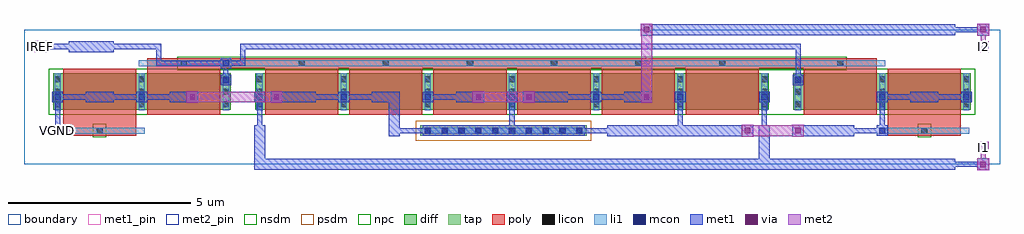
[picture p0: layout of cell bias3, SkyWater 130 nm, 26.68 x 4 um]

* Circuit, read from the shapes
.subckt bias3 I1 I2 IREF VGND
XM1 VGND VGND VGND VGND sky130_fd_pr__nfet_01v8 w=1 l=2 m=2
XM2 IREF IREF VGND VGND sky130_fd_pr__nfet_01v8 w=1 l=2 m=2
XM3 VGND IREF I1 VGND sky130_fd_pr__nfet_01v8 w=1 l=2 m=2
XM4 I2 IREF VGND VGND sky130_fd_pr__nfet_01v8 w=1 l=2 m=4
.ends

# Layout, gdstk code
import gdstk
lib = gdstk.Library(unit=1e-6, precision=1e-09)
def R(c, l, rs):  # rectangles x0, y0, x1, y1
    for r in rs: c.add(gdstk.rectangle(r[:2], r[2:], *l))
def A(c, l, x, y, w, h, nx, ny, dx, dy):  # array of equal rectangles
    R(c, l, [(x+i*dx, y+j*dy, x+i*dx+w, y+j*dy+h) for i in range(nx) for j in range(ny)])
diff = (65, 20)
tap = (65, 44)
poly = (66, 20)
licon = (66, 44)
li1 = (67, 20)
mcon = (67, 44)
met1_pin = (68, 16)
met1 = (68, 20)
via = (68, 44)
met2_pin = (69, 16)
met2 = (69, 20)
nsdm = (93, 44)
psdm = (94, 20)
npc = (95, 20)
boundary = (235, 4)

bias3 = lib.new_cell('bias3')
R(bias3, diff, [(0.795,1.485,5.645,2.485), (6.315,1.485,20.365,2.485), (21.035,1.485,25.885,2.485)])
R(bias3, tap, [(10.835,0.775,15.385,1.065)])
A(bias3, poly, 6.59, 1.355, 2, 1.405, 6, 1, 2.3, 0)
R(bias3, poly, [(1.07,0.785,3.07,1.055), (23.61,0.785,25.61,1.055), (1.07,0.92,3.07,2.615), (23.61,0.92,25.61,2.615), (3.37,1.355,5.37,2.76), (21.31,1.355,23.31,2.76), (3.37,2.625,23.31,2.895)])
A(bias3, licon, 10.955, 0.835, 0.17, 0.17, 10, 1, 0.46, 0)
A(bias3, licon, 0.835, 1.56, 0.17, 0.17, 3, 3, 2.3, 0.34)
A(bias3, licon, 6.355, 1.56, 0.17, 0.17, 7, 3, 2.3, 0.34)
A(bias3, licon, 21.075, 1.56, 0.17, 0.17, 3, 3, 2.3, 0.34)
A(bias3, licon, 7.505, 2.675, 0.17, 0.17, 6, 1, 2.3, 0)
R(bias3, licon, [(1.985,0.835,2.155,1.005), (24.525,0.835,24.695,1.005), (4.285,2.675,4.455,2.845), (22.225,2.675,22.395,2.845)])
A(bias3, li1, 0.835, 1.48, 0.17, 1.01, 3, 1, 2.3, 0)
A(bias3, li1, 6.355, 1.48, 0.17, 1.01, 7, 1, 2.3, 0)
A(bias3, li1, 21.075, 1.48, 0.17, 1.01, 3, 1, 2.3, 0)
R(bias3, li1, [(0.835,0.835,3.305,1.005), (10.875,0.835,15.345,1.005), (23.375,0.835,25.845,1.005), (3.135,2.675,23.545,2.845)])
A(bias3, mcon, 10.955, 0.835, 0.17, 0.17, 10, 1, 0.46, 0)
A(bias3, mcon, 6.355, 1.755, 0.17, 0.17, 7, 1, 2.3, 0)
R(bias3, mcon, [(0.835,0.835,1.005,1.005), (23.375,0.835,23.545,1.005), (0.835,1.755,1.005,1.925), (3.135,1.755,3.305,1.925), (23.375,1.755,23.545,1.925), (25.675,1.755,25.845,1.925), (5.435,2.215,5.605,2.385), (21.075,2.215,21.245,2.385), (5.435,2.675,5.605,2.845)])
R(bias3, met1_pin, [(0.775,0.775,1.065,1.065)])
A(bias3, met1, 6.295, 1.695, 0.29, 0.29, 7, 1, 2.3, 0)
R(bias3, met1, [(26.06,-0.16,26.38,0.16), (6.29,-0.15,6.59,1.07), (6.29,-0.15,20.39,0.15), (20.09,-0.15,20.39,1.07), (20.09,-0.15,25.45,0.15), (25.23,-0.07,26.29,0.07), (19.62,0.76,19.94,1.08), (21,0.76,21.32,1.08), (9.97,0.77,10.27,1.99), (15.95,0.77,18.09,1.07), (17.79,0.77,19.93,1.07), (21.01,0.77,22.69,1.07), (0.775,0.775,1.065,1.065), (10.895,0.775,15.325,1.065), (23.315,0.775,23.605,1.065), (0.85,0.85,0.99,1.91), (6.37,0.85,6.51,1.91), (10.05,0.85,11.11,0.99), (10.97,0.85,11.11,0.99), (10.97,0.85,13.41,0.99), (13.27,0.85,13.41,1.91), (13.27,0.85,16.17,0.99), (17.87,0.85,18.01,1.91), (20.17,0.85,20.31,1.91), (22.47,0.85,23.53,0.99), (23.39,0.85,23.53,1.91), (4.44,1.68,4.76,2), (6.74,1.68,7.06,2), (12.26,1.68,12.58,2), (13.64,1.68,13.96,2), (16.86,1.68,17.18,2), (1.69,1.69,2.45,1.99), (3.99,1.69,4.75,1.99), (6.75,1.69,7.97,1.99), (9.51,1.69,10.27,1.99), (11.81,1.69,12.57,1.99), (13.65,1.69,14.87,1.99), (16.41,1.69,17.17,1.99), (24.23,1.69,24.99,1.99), (0.775,1.695,1.065,1.985), (3.075,1.695,3.365,1.985), (23.315,1.695,23.605,1.985), (25.615,1.695,25.905,1.985), (0.85,1.77,1.91,1.91), (2.23,1.77,3.29,1.91), (3.15,1.77,4.21,1.91), (7.75,1.77,8.81,1.91), (8.67,1.77,9.73,1.91), (10.97,1.77,12.03,1.91), (14.65,1.77,15.71,1.91), (15.57,1.77,16.63,1.91), (23.39,1.77,24.45,1.91), (24.77,1.77,25.83,1.91), (5.375,2.155,5.665,2.445), (21.015,2.155,21.305,2.445), (5.45,2.23,5.59,2.83), (21.09,2.23,21.23,3.29), (5.375,2.615,5.665,2.905), (3.61,2.69,3.75,3.29), (3.61,2.69,5.59,2.83), (5.45,2.69,6.05,2.83), (5.91,2.69,6.05,3.29), (0.3,3.06,0.62,3.38), (1.23,3.07,2.45,3.37), (0.39,3.15,1.45,3.29), (2.23,3.15,3.75,3.29), (5.91,3.15,21.23,3.29), (16.86,3.52,17.18,3.84), (26.06,3.52,26.38,3.84), (16.87,3.53,25.45,3.83), (25.23,3.61,26.29,3.75)])
R(bias3, via, [(26.145,-0.075,26.295,0.075), (19.705,0.845,19.855,0.995), (21.085,0.845,21.235,0.995), (4.525,1.765,4.675,1.915), (6.825,1.765,6.975,1.915), (12.345,1.765,12.495,1.915), (13.725,1.765,13.875,1.915), (16.945,1.765,17.095,1.915), (0.385,3.145,0.535,3.295), (16.945,3.605,17.095,3.755), (26.145,3.605,26.295,3.755)])
R(bias3, met2_pin, [(26.07,0.31,26.37,0.61), (0.31,3.07,0.61,3.37), (26.07,3.07,26.37,3.37)])
R(bias3, met2, [(26.06,-0.16,26.38,0.16), (26.15,-0.07,26.29,0.53), (26.07,0.31,26.37,0.61), (26.15,0.39,26.29,0.53), (19.62,0.76,19.94,1.08), (21,0.76,21.32,1.08), (19.63,0.77,21.31,1.07), (4.44,1.68,4.76,2), (6.74,1.68,7.06,2), (12.26,1.68,12.58,2), (13.64,1.68,13.96,2), (16.86,1.68,17.18,2), (4.45,1.69,7.05,1.99), (12.27,1.69,13.95,1.99), (16.87,1.69,17.17,3.83), (0.3,3.06,0.62,3.38), (0.31,3.07,0.61,3.37), (26.07,3.07,26.37,3.37), (0.39,3.15,0.53,3.29), (26.15,3.15,26.29,3.29), (26.15,3.15,26.29,3.75), (16.86,3.52,17.18,3.84), (26.06,3.52,26.38,3.84)])
R(bias3, nsdm, [(0.67,1.36,26.01,2.61)])
R(bias3, psdm, [(10.71,0.65,15.51,1.19)])
R(bias3, npc, [(1.885,0.735,2.255,1.105), (24.425,0.735,24.795,1.105), (4.185,2.575,22.495,2.945)])
R(bias3, boundary, [(0,0,26.68,3.68)])
bias3.add(gdstk.Label('VGND', (0.92,0.92), layer=68, texttype=5))
bias3.add(gdstk.Label('IREF', (0.46,3.22), layer=69, texttype=5))
bias3.add(gdstk.Label('I1', (26.22,0.46), layer=69, texttype=5))
bias3.add(gdstk.Label('I2', (26.22,3.22), layer=69, texttype=5))
bias3.add(gdstk.Label('VGND', (0.92,0.92), layer=68, texttype=16))
bias3.add(gdstk.Label('IREF', (0.46,3.22), layer=69, texttype=16))
bias3.add(gdstk.Label('I1', (26.22,0.46), layer=69, texttype=16))
bias3.add(gdstk.Label('I2', (26.22,3.22), layer=69, texttype=16))

lib.write_gds('bias3.gds')
